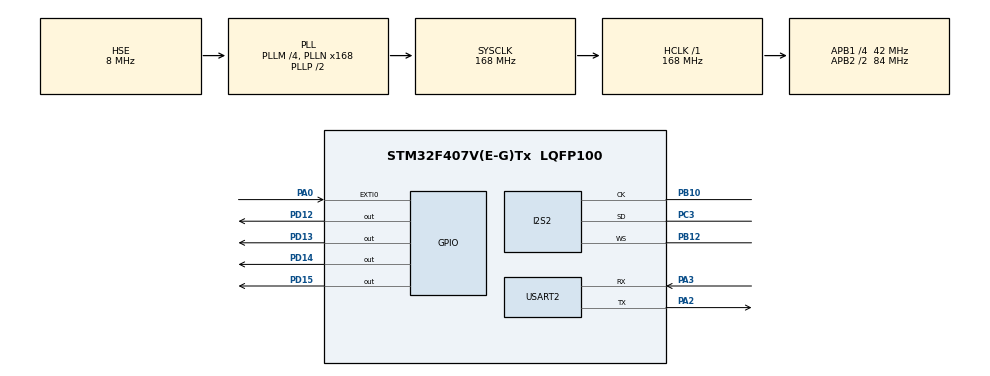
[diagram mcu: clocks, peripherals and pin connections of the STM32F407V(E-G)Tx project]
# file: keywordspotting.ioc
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Dma.Request0=SPI2_RX
Dma.SPI2_RX.0.Direction=DMA_PERIPH_TO_MEMORY
Dma.SPI2_RX.0.FIFOMode=DMA_FIFOMODE_DISABLE
Dma.SPI2_RX.0.Instance=DMA1_Stream3
Dma.SPI2_RX.0.MemDataAlignment=DMA_MDATAALIGN_HALFWORD
Dma.SPI2_RX.0.MemInc=DMA_MINC_ENABLE
Dma.SPI2_RX.0.Mode=DMA_CIRCULAR
Dma.SPI2_RX.0.PeriphDataAlignment=DMA_PDATAALIGN_HALFWORD
Dma.SPI2_RX.0.PeriphInc=DMA_PINC_DISABLE
Dma.SPI2_RX.0.Priority=DMA_PRIORITY_LOW
EdgeImpulse.keyword-spotting.1.0.2.MachineLearningCckeywordAaspottingJjCore=true
I2S2.AudioFreq=I2S_AUDIOFREQ_48K
I2S2.CPOL=I2S_CPOL_HIGH
I2S2.ErrorAudioFreq=-1.35 %
I2S2.FullDuplexMode=I2S_FULLDUPLEXMODE_DISABLE
I2S2.Instance=SPI$Index
I2S2.Mode=I2S_MODE_MASTER_RX
I2S2.RealAudioFreq=47.348 KHz
I2S2.Standard=I2S_STANDARD_LSB
I2S2.VirtualMode=I2S_MODE_MASTER
Mcu.Family=STM32F4
Mcu.Name=STM32F407V(E-G)Tx
Mcu.Package=LQFP100
NVIC.DMA1_Stream3_IRQn=true\:0\:0\:false\:false\:true\:false\:true\:true
NVIC.EXTI0_IRQn=true\:0\:0\:false\:false\:true\:true\:true\:true
NVIC.PriorityGroup=NVIC_PRIORITYGROUP_4
PA0-WKUP.Signal=GPXTI0
PA13.Mode=Serial_Wire
PA13.Signal=SYS_JTMS-SWDIO
PA14.Mode=Serial_Wire
PA14.Signal=SYS_JTCK-SWCLK
PA2.Mode=Asynchronous
PA2.Signal=USART2_TX
PA3.Mode=Asynchronous
PA3.Signal=USART2_RX
PB10.Mode=Half_Duplex_Master
PB10.Signal=I2S2_CK
PB12.Mode=Half_Duplex_Master
PB12.Signal=I2S2_WS
PC3.Mode=Half_Duplex_Master
PC3.Signal=I2S2_SD
PD12.Signal=GPIO_Output
PD13.Signal=GPIO_Output
PD14.Signal=GPIO_Output
PD15.Signal=GPIO_Output
PH0-OSC_IN.Mode=HSE-External-Oscillator
PH0-OSC_IN.Signal=RCC_OSC_IN
PH1-OSC_OUT.Mode=HSE-External-Oscillator
PH1-OSC_OUT.Signal=RCC_OSC_OUT
ProjectManager.HeapSize=0x200
ProjectManager.StackSize=0x400
ProjectManager.TargetToolchain=STM32CubeIDE
RCC.48MHZClocksFreq_Value=84000000
RCC.AHBFreq_Value=168000000
RCC.APB1CLKDivider=RCC_HCLK_DIV4
RCC.APB1Freq_Value=42000000
RCC.APB1TimFreq_Value=84000000
RCC.APB2CLKDivider=RCC_HCLK_DIV2
RCC.APB2Freq_Value=84000000
RCC.APB2TimFreq_Value=168000000
RCC.CortexFreq_Value=168000000
RCC.HCLKFreq_Value=168000000
RCC.HSE_VALUE=8000000
RCC.HSI_VALUE=16000000
RCC.LSE_VALUE=32768
RCC.PLLI2SN=50
RCC.PLLM=4
RCC.PLLN=168
RCC.PLLSourceVirtual=RCC_PLLSOURCE_HSE
RCC.SYSCLKFreq_VALUE=168000000
RCC.SYSCLKSource=RCC_SYSCLKSOURCE_PLLCLK
RCC.VCOOutputFreq_Value=336000000
USART2.VirtualMode=VM_ASYNC
VP_CRC_VS_CRC.Mode=CRC_Activate
VP_EdgeImpulse.keyword-spotting_VS_keywordAaspottingJjMachineLearning_1.0.2_1.0.2.Mode=keywordAaspottingJjMachineLearning
board=custom

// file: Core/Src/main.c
/* USER CODE BEGIN Header */
/**
  ******************************************************************************
  * @file           : main.c
  * @brief          : Sesli komut (go / stop) - STM32F407 Discovery
  ******************************************************************************
  */
/* USER CODE END Header */
#include "main.h"

/* USER CODE BEGIN Includes */
#include "mp45dt02.h"
#include "circular_buffer.h"
#include "ai_controller.h"
#include <stdio.h>
/* USER CODE END Includes */

/* USER CODE BEGIN PTD */
typedef enum
{
	DURUM_BOS,		// bekliyor: butona basılmadı
	DURUM_DINLE,	// butona basıldı: son 300 ms'yi tutuyor, konuşmanın başlamasını bekliyor
	DURUM_KAYIT		// konuşma başladı: 1 saniye dolana kadar kaydediyor
} Durum_t;
/* USER CODE END PTD */

/* USER CODE BEGIN PD */
#define BEKLE_MS		300		// butona basma/bırakma tıkları bu sürede biter: kaydetme
#define ON_KAYIT		4800	// kelimeden önce saklanan ses: 300 ms × 16 ses/ms
#define SES_ESIGI		2000	// 1 ms'nin tepesi bundan büyükse ses var (sessizlik ~800'ün altında ölçüldü)
#define SES_SURESI		10		// üst üste 10 ms eşik aşılırsa konuşma başladı say (tek tık sayılmasın)
#define ZAMAN_ASIMI_MS	3000	// 3 saniye içinde konuşulmazsa vazgeç
/* USER CODE END PD */

CRC_HandleTypeDef hcrc;

I2S_HandleTypeDef hi2s2;
DMA_HandleTypeDef hdma_spi2_rx;

UART_HandleTypeDef huart2;

/* USER CODE BEGIN PV */
MP45DT02_t			mikrofon;
Circular_Buffer_t	kuyruk;

volatile Durum_t	durum       = DURUM_BOS;
volatile uint32_t	son_basis   = 0;		// butona basılan an (ms)
volatile uint16_t	ses_sayaci  = 0;		// üst üste kaç ms ses eşiği aşıldı
volatile bool		ses_gelmedi = false;	// 3 saniye içinde konuşulmadı
/* USER CODE END PV */

void SystemClock_Config(void);
static void MX_GPIO_Init(void);
static void MX_DMA_Init(void);
static void MX_I2S2_Init(void);
static void MX_CRC_Init(void);
static void MX_USART2_UART_Init(void);

/* USER CODE BEGIN 0 */

// printf → USART2 (PA2 = TX, 115200 8N1). PA9 (USART1) Discovery'de C49 kondansatörü yüzünden çalışmıyor.
int _write(int file, char *ptr, int len)
{
	(void)file;
	HAL_UART_Transmit(&huart2, (uint8_t *)ptr, (uint16_t)len, HAL_MAX_DELAY);
	return len;
}

/* USER CODE END 0 */

int main(void)
{

  /* MCU Configuration--------------------------------------------------------*/

  /* Reset of all peripherals, Initializes the Flash interface and the Systick. */
  HAL_Init();

  /* Configure the system clock */
  SystemClock_Config();

  /* Initialize all configured peripherals */
  MX_GPIO_Init();
  MX_DMA_Init();
  MX_I2S2_Init();
  MX_CRC_Init();
  MX_USART2_UART_Init();
  /* USER CODE BEGIN 2 */
	Circular_Buffer_Init(&kuyruk);

	if (!MP45DT02_Initialization(&mikrofon, &hi2s2))
	{
		printf("Mikrofon baslatilamadi! saat = %lu Hz, birler = %% %u\r\n",
				(unsigned long)mikrofon.clock_hz, mikrofon.ones_percent);
	}
	else
	{
		printf("Mikrofon hazir. saat = %lu Hz, birler = %% %u\r\n",
				(unsigned long)mikrofon.clock_hz, mikrofon.ones_percent);
	}

	printf("Butona bas, turuncu yaninca konus.\r\n");
  /* USER CODE END 2 */

  /* Infinite loop */
  while (1)
  {

    /* USER CODE BEGIN 3 */
	  if (Circular_Buffer_Count(&kuyruk) >= AI_PENCERE)
	  	{
	  		HAL_GPIO_WritePin(GPIOD, GPIO_PIN_13, GPIO_PIN_RESET);		// turuncu söndü
	  		AI_Process_Buffer(&kuyruk);
	  	}

	  	if (ses_gelmedi)
	  	{
	  		ses_gelmedi = false;
	  		HAL_GPIO_WritePin(GPIOD, GPIO_PIN_13, GPIO_PIN_RESET);		// turuncu söndü
	  		HAL_GPIO_WritePin(GPIOD, GPIO_PIN_15, GPIO_PIN_SET);		// mavi
	  		printf("3 saniye icinde ses gelmedi.\r\n");
	  	}
	    }
  /* USER CODE END 3 */
}

void SystemClock_Config(void)
{
  RCC_OscInitTypeDef RCC_OscInitStruct = {0};
  RCC_ClkInitTypeDef RCC_ClkInitStruct = {0};

  /** Configure the main internal regulator output voltage
  */
  __HAL_RCC_PWR_CLK_ENABLE();
  __HAL_PWR_VOLTAGESCALING_CONFIG(PWR_REGULATOR_VOLTAGE_SCALE1);

  /** Initializes the RCC Oscillators according to the specified parameters
  * in the RCC_OscInitTypeDef structure.
  */
  RCC_OscInitStruct.OscillatorType = RCC_OSCILLATORTYPE_HSE;
  RCC_OscInitStruct.HSEState = RCC_HSE_ON;
  RCC_OscInitStruct.PLL.PLLState = RCC_PLL_ON;
  RCC_OscInitStruct.PLL.PLLSource = RCC_PLLSOURCE_HSE;
  RCC_OscInitStruct.PLL.PLLM = 4;
  RCC_OscInitStruct.PLL.PLLN = 168;
  RCC_OscInitStruct.PLL.PLLP = RCC_PLLP_DIV2;
  RCC_OscInitStruct.PLL.PLLQ = 4;
  if (HAL_RCC_OscConfig(&RCC_OscInitStruct) != HAL_OK)
  {
    Error_Handler();
  }

  /** Initializes the CPU, AHB and APB buses clocks
  */
  RCC_ClkInitStruct.ClockType = RCC_CLOCKTYPE_HCLK|RCC_CLOCKTYPE_SYSCLK
                              |RCC_CLOCKTYPE_PCLK1|RCC_CLOCKTYPE_PCLK2;
  RCC_ClkInitStruct.SYSCLKSource = RCC_SYSCLKSOURCE_PLLCLK;
  RCC_ClkInitStruct.AHBCLKDivider = RCC_SYSCLK_DIV1;
  RCC_ClkInitStruct.APB1CLKDivider = RCC_HCLK_DIV4;
  RCC_ClkInitStruct.APB2CLKDivider = RCC_HCLK_DIV2;

  if (HAL_RCC_ClockConfig(&RCC_ClkInitStruct, FLASH_LATENCY_5) != HAL_OK)
  {
    Error_Handler();
  }
}

static void MX_CRC_Init(void)
{

  hcrc.Instance = CRC;
  if (HAL_CRC_Init(&hcrc) != HAL_OK)
  {
    Error_Handler();
  }

}

static void MX_I2S2_Init(void)
{

  hi2s2.Instance = SPI2;
  hi2s2.Init.Mode = I2S_MODE_MASTER_RX;
  hi2s2.Init.Standard = I2S_STANDARD_LSB;
  hi2s2.Init.DataFormat = I2S_DATAFORMAT_16B;
  hi2s2.Init.MCLKOutput = I2S_MCLKOUTPUT_DISABLE;
  hi2s2.Init.AudioFreq = I2S_AUDIOFREQ_48K;
  hi2s2.Init.CPOL = I2S_CPOL_HIGH;
  hi2s2.Init.ClockSource = I2S_CLOCK_PLL;
  hi2s2.Init.FullDuplexMode = I2S_FULLDUPLEXMODE_DISABLE;
  if (HAL_I2S_Init(&hi2s2) != HAL_OK)
  {
    Error_Handler();
  }

}

static void MX_USART2_UART_Init(void)
{

  huart2.Instance = USART2;
  huart2.Init.BaudRate = 115200;
  huart2.Init.WordLength = UART_WORDLENGTH_8B;
  huart2.Init.StopBits = UART_STOPBITS_1;
  huart2.Init.Parity = UART_PARITY_NONE;
  huart2.Init.Mode = UART_MODE_TX_RX;
  huart2.Init.HwFlowCtl = UART_HWCONTROL_NONE;
  huart2.Init.OverSampling = UART_OVERSAMPLING_16;
  if (HAL_UART_Init(&huart2) != HAL_OK)
  {
    Error_Handler();
  }

}

static void MX_DMA_Init(void)
{

  /* DMA controller clock enable */
  __HAL_RCC_DMA1_CLK_ENABLE();

  /* DMA interrupt init */
  /* DMA1_Stream3_IRQn interrupt configuration */
  HAL_NVIC_SetPriority(DMA1_Stream3_IRQn, 0, 0);
  HAL_NVIC_EnableIRQ(DMA1_Stream3_IRQn);

}

static void MX_GPIO_Init(void)
{
  GPIO_InitTypeDef GPIO_InitStruct = {0};

  /* GPIO Ports Clock Enable */
  __HAL_RCC_GPIOH_CLK_ENABLE();
  __HAL_RCC_GPIOC_CLK_ENABLE();
  __HAL_RCC_GPIOA_CLK_ENABLE();
  __HAL_RCC_GPIOB_CLK_ENABLE();
  __HAL_RCC_GPIOD_CLK_ENABLE();

  /*Configure GPIO pin Output Level */
  HAL_GPIO_WritePin(GPIOD, GPIO_PIN_12|GPIO_PIN_13|GPIO_PIN_14|GPIO_PIN_15, GPIO_PIN_RESET);

  /*Configure GPIO pin : PA0 */
  GPIO_InitStruct.Pin = GPIO_PIN_0;
  GPIO_InitStruct.Mode = GPIO_MODE_IT_RISING;
  GPIO_InitStruct.Pull = GPIO_NOPULL;
  HAL_GPIO_Init(GPIOA, &GPIO_InitStruct);

  /*Configure GPIO pins : PD12 PD13 PD14 PD15 */
  GPIO_InitStruct.Pin = GPIO_PIN_12|GPIO_PIN_13|GPIO_PIN_14|GPIO_PIN_15;
  GPIO_InitStruct.Mode = GPIO_MODE_OUTPUT_PP;
  GPIO_InitStruct.Pull = GPIO_NOPULL;
  GPIO_InitStruct.Speed = GPIO_SPEED_FREQ_LOW;
  HAL_GPIO_Init(GPIOD, &GPIO_InitStruct);

  /* EXTI interrupt init*/
  HAL_NVIC_SetPriority(EXTI0_IRQn, 0, 0);
  HAL_NVIC_EnableIRQ(EXTI0_IRQn);

}

/* USER CODE BEGIN 4 */

/*
 * Mikrofon: her 1 ms'de 16 ses gelir.
 *   DURUM_DINLE : sesleri kuyruğa yaz ama sadece son 300 ms'yi tut. Konuşma başlayınca KAYIT'a geç.
 *   DURUM_KAYIT : kuyruk 16000 olana kadar yaz. Böylece kelimenin önünde ~300 ms, arkasında ~700 ms olur:
 *                 kelime 1 saniyenin ortasına düşer (Edge Impulse'taki kayıtlar gibi).
 */
static void Mikrofon_Kuyruga_Yaz(uint8_t half)
{
	MP45DT02_Read_PCM(&mikrofon, half);

	if (durum == DURUM_BOS)
		return;

	uint32_t gecen = HAL_GetTick() - son_basis;

	if (gecen < BEKLE_MS)
		return;		// buton tıkları: kaydetme

	for (int i = 0; i < MP45DT02_PCM_SIZE; i++)
		Circular_Buffer_Enqueue(&kuyruk, mikrofon.pcm[i]);

	if (durum == DURUM_DINLE)
	{
		// Sadece son 300 ms kalsın: fazlasını en eskiden at
		Sensor_Data_t at;
		while (Circular_Buffer_Count(&kuyruk) > ON_KAYIT)
			Circular_Buffer_Dequeue(&kuyruk, &at);

		// Konuşma başladı mı? (1 ms'nin tepesi eşiği üst üste SES_SURESI kere aştı mı)
		if (mikrofon.level > SES_ESIGI)
			ses_sayaci++;
		else
			ses_sayaci = 0;

		if (ses_sayaci >= SES_SURESI)
		{
			durum = DURUM_KAYIT;		// kelime başladı: önündeki 300 ms kuyrukta, 700 ms daha kaydet
		}
		else if (gecen > ZAMAN_ASIMI_MS)
		{
			Circular_Buffer_Init(&kuyruk);
			durum       = DURUM_BOS;
			ses_gelmedi = true;			// ana döngü mavi yakıp yazacak
		}
		return;
	}

	// DURUM_KAYIT
	if (Circular_Buffer_Count(&kuyruk) >= AI_PENCERE)
		durum = DURUM_BOS;		// 16000 ses = 1 saniye doldu, ana döngü modeli çalıştıracak
}

// DMA ilk yarıyı doldurdu
void HAL_I2S_RxHalfCpltCallback(I2S_HandleTypeDef *hi2s)
{
	if (hi2s->Instance == SPI2)
		Mikrofon_Kuyruga_Yaz(0);
}

// DMA ikinci yarıyı doldurdu
void HAL_I2S_RxCpltCallback(I2S_HandleTypeDef *hi2s)
{
	if (hi2s->Instance == SPI2)
		Mikrofon_Kuyruga_Yaz(1);
}

// Buton (PA0): dinlemeye başla (bas ve bırak yeter)
void HAL_GPIO_EXTI_Callback(uint16_t GPIO_Pin)
{
	if (GPIO_Pin == GPIO_PIN_0)
	{
		// Dinleme/kayıt sürüyorsa, model çalışıyorsa ya da 300 ms içinde titrediyse sayma
		if ((durum == DURUM_BOS) && Circular_Buffer_Is_Empty(&kuyruk) && (HAL_GetTick() - son_basis) > 300)
		{
			son_basis  = HAL_GetTick();
			ses_sayaci = 0;

			HAL_GPIO_WritePin(GPIOD, GPIO_PIN_12 | GPIO_PIN_14 | GPIO_PIN_15, GPIO_PIN_RESET);
			HAL_GPIO_WritePin(GPIOD, GPIO_PIN_13, GPIO_PIN_SET);		// turuncu: konuş

			durum = DURUM_DINLE;
		}
	}
}

/* USER CODE END 4 */

void Error_Handler(void)
{
  __disable_irq();
  while (1)
  {
  }
}
#ifdef USE_FULL_ASSERT
/**
  * @brief  Reports the name of the source file and the source line number
  *         where the assert_param error has occurred.
  * @param  file: pointer to the source file name
  * @param  line: assert_param error line source number
  * @retval None
  */
void assert_failed(uint8_t *file, uint32_t line)
{
  /* USER CODE BEGIN 6 */
  (void)file;
  (void)line;
  /* USER CODE END 6 */
}
#endif /* USE_FULL_ASSERT */
